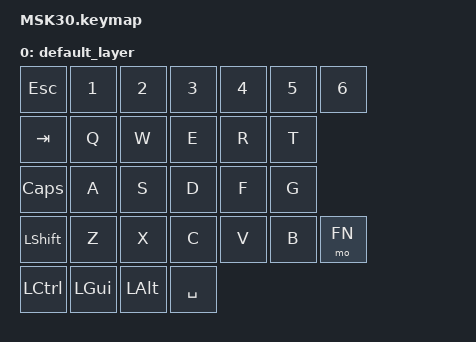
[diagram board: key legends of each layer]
#include <behaviors.dtsi>
#include <dt-bindings/zmk/keys.h>
#include <dt-bindings/zmk/bt.h>

#define DEFAULT 0
#define FN   1

/ {
    keymap {
        compatible = "zmk,keymap";

        default_layer {
            bindings = <
                &kp ESC     &kp N1      &kp N2      &kp N3      &kp N4      &kp N5      &kp N6
                &kp TAB     &kp Q       &kp W       &kp E       &kp R       &kp T
                &kp CAPS    &kp A       &kp S       &kp D       &kp F       &kp G
                &kp LSHIFT  &kp Z       &kp X       &kp C       &kp V       &kp B       &mo FN
                &kp LCTRL   &kp LGUI    &kp LALT    &kp SPACE
            >;
        };

        fn_layer {
            bindings = <
                &kp GRAVE   &kp F1      &kp F2      &kp F3      &kp F4      &kp F5       &kp F6
                &trans      &trans      &trans      &trans      &trans      &bt BT_CLR
                &trans      &trans      &trans      &trans      &trans      &bt BT_SEL 0 &trans
                &trans      &trans      &trans      &trans 
        };
    };
};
